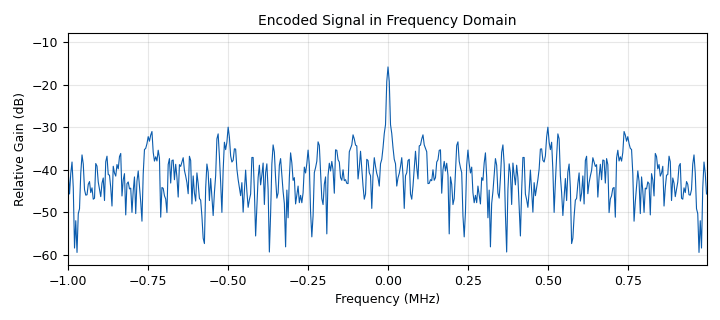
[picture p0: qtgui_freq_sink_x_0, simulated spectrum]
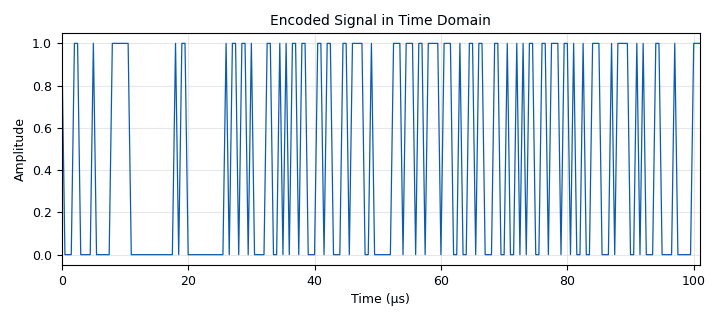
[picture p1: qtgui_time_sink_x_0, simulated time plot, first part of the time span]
<?xml version='1.0' encoding='utf-8'?>
<?grc format='1' created='3.7.11'?>
<flow_graph>
<block>
<key>options</key>
<param><key>id</key><value>Customed_Packet_Encoder</value></param>
<param><key>author</key><value>Yifang Chen</value></param>
<param><key>description</key><value>Generate 2 bits infomation as a stream of digital signal for input message.</value></param>
<param><key>generate_options</key><value>hb_qt_gui</value></param>
</block>
<block>
<key>variable</key>
<param><key>id</key><value>whole_name</value></param>
<param><key>comment</key><value>Name of signal file.
Dst(Destination) + file_name</value></param>
<param><key>value</key><value>dst+ file_name</value></param>
</block>
<block>
<key>blocks_char_to_float</key>
<param><key>id</key><value>blocks_char_to_float_0</value></param>
<param><key>scale</key><value>1</value></param>
</block>
<block>
<key>blocks_file_sink</key>
<param><key>id</key><value>blocks_file_sink_0</value></param>
<param><key>comment</key><value>Save the original file to do error checking</value></param>
<param><key>file</key><value>whole_name</value></param>
<param><key>type</key><value>byte</value></param>
</block>
<block>
<key>blocks_head</key>
<param><key>id</key><value>blocks_head_0</value></param>
<param><key>num_items</key><value>len(message)*(message_repeatNum+1)</value></param>
<param><key>type</key><value>byte</value></param>
</block>
<block>
<key>blocks_message_debug</key>
<param><key>id</key><value>blocks_message_debug_0_0</value></param>
<param><key>comment</key><value>Display the message that was sent.
Check if the repeated time is right.</value></param>
<param><key>_enabled</key><value>0</value></param>
</block>
<block>
<key>blocks_message_strobe</key>
<param><key>id</key><value>blocks_message_strobe_0_0</value></param>
<param><key>comment</key><value>Generate message</value></param>
<param><key>msg</key><value>pmt.cons(pmt.make_dict(), pmt.pmt_to_python.numpy_to_uvector(numpy.array([ord(c) for c in message], numpy.uint8)))</value></param>
<param><key>period</key><value>interval_ms</value></param>
</block>
<block>
<key>blocks_pdu_to_tagged_stream</key>
<param><key>id</key><value>blocks_pdu_to_tagged_stream_1</value></param>
<param><key>type</key><value>byte</value></param>
<param><key>tag</key><value>len_key</value></param>
</block>
<block>
<key>blocks_repack_bits_bb</key>
<param><key>id</key><value>blocks_repack_bits_bb_0_0</value></param>
<param><key>k</key><value>8</value></param>
<param><key>l</key><value>1</value></param>
<param><key>comment</key><value>Unpack bytes</value></param>
<param><key>endianness</key><value>gr.GR_MSB_FIRST</value></param>
<param><key>len_tag_key</key><value>len_key</value></param>
</block>
<block>
<key>blocks_repack_bits_bb</key>
<param><key>id</key><value>blocks_repack_bits_bb_0_0_0</value></param>
<param><key>k</key><value>8</value></param>
<param><key>l</key><value>1</value></param>
<param><key>comment</key><value>Unpack bytes</value></param>
<param><key>endianness</key><value>gr.GR_MSB_FIRST</value></param>
<param><key>len_tag_key</key><value>len_key</value></param>
</block>
<block>
<key>blocks_repack_bits_bb</key>
<param><key>id</key><value>blocks_repack_bits_bb_0_0_0_0</value></param>
<param><key>k</key><value>1</value></param>
<param><key>l</key><value>8</value></param>
<param><key>comment</key><value>Tagged Stream to PDU block up ahead needs packed bytes</value></param>
<param><key>_enabled</key><value>0</value></param>
<param><key>endianness</key><value>gr.GR_MSB_FIRST</value></param>
<param><key>len_tag_key</key><value>len_key2</value></param>
</block>
<block>
<key>blocks_repeat</key>
<param><key>id</key><value>blocks_repeat_0</value></param>
<param><key>interp</key><value>int(symbol_rate/samp_rate)</value></param>
<param><key>type</key><value>byte</value></param>
</block>
<block>
<key>blocks_skiphead</key>
<param><key>id</key><value>blocks_skiphead_0</value></param>
<param><key>num_items</key><value>len(message)*1</value></param>
<param><key>type</key><value>byte</value></param>
</block>
<block>
<key>blocks_tagged_stream_mux</key>
<param><key>id</key><value>blocks_tagged_stream_mux_0</value></param>
<param><key>comment</key><value>Append header to payload</value></param>
<param><key>type</key><value>byte</value></param>
<param><key>lengthtagname</key><value>len_key</value></param>
<param><key>ninputs</key><value>2</value></param>
</block>
<block>
<key>blocks_tagged_stream_to_pdu</key>
<param><key>id</key><value>blocks_tagged_stream_to_pdu_0_0</value></param>
<param><key>_enabled</key><value>0</value></param>
<param><key>type</key><value>byte</value></param>
<param><key>tag</key><value>len_key2</value></param>
</block>
<block>
<key>blocks_throttle</key>
<param><key>id</key><value>blocks_throttle_0</value></param>
<param><key>samples_per_second</key><value>samp_rate</value></param>
<param><key>type</key><value>byte</value></param>
</block>
<block>
<key>digital_correlate_access_code_xx_ts</key>
<param><key>id</key><value>digital_correlate_access_code_xx_ts_1_0_0</value></param>
<param><key>access_code</key><value>digital.packet_utils.default_access_code</value></param>
<param><key>comment</key><value>Correlates with access code to extract the payload.</value></param>
<param><key>_enabled</key><value>0</value></param>
<param><key>type</key><value>byte</value></param>
<param><key>tagname</key><value>len_key2</value></param>
<param><key>threshold</key><value>10</value></param>
</block>
<block>
<key>digital_protocol_formatter_bb</key>
<param><key>id</key><value>digital_protocol_formatter_bb_0</value></param>
<param><key>comment</key><value>Generate header</value></param>
<param><key>format</key><value>hdr_format</value></param>
<param><key>len_tag_key</key><value>len_key</value></param>
</block>
<block>
<key>parameter</key>
<param><key>id</key><value>dst</value></param>
<param><key>comment</key><value>Desination of saved signal files</value></param>
<param><key>type</key><value>string</value></param>
<param><key>value</key><value>C:\Users\cheny\Desktop\</value></param>
</block>
<block>
<key>parameter</key>
<param><key>id</key><value>file_name</value></param>
<param><key>comment</key><value>Specific name of the file</value></param>
<param><key>type</key><value>string</value></param>
<param><key>value</key><value>'test_in'</value></param>
</block>
<block>
<key>pad_sink</key>
<param><key>id</key><value>generatedSignal</value></param>
<param><key>type</key><value>byte</value></param>
<param><key>label</key><value>out</value></param>
</block>
<block>
<key>parameter</key>
<param><key>id</key><value>hdr_format</value></param>
<param><key>comment</key><value>Header format definition</value></param>
<param><key>label</key><value>Header Formatter</value></param>
<param><key>value</key><value>digital.header_format_default(digital.packet_utils.default_access_code, 0)</value></param>
</block>
<block>
<key>import</key>
<param><key>id</key><value>import_0</value></param>
<param><key>comment</key><value>Custom Embedded
Python Block uses 
this library.</value></param>
<param><key>import</key><value>import numpy</value></param>
</block>
<block>
<key>parameter</key>
<param><key>id</key><value>interval_ms</value></param>
<param><key>comment</key><value>Time interval between each message
Right now haven't see any influnce on BER
unit: ms</value></param>
<param><key>type</key><value>intx</value></param>
<param><key>value</key><value>int(0.2e3)</value></param>
</block>
<block>
<key>parameter</key>
<param><key>id</key><value>message</value></param>
<param><key>value</key><value>"hello world"</value></param>
</block>
<block>
<key>parameter</key>
<param><key>id</key><value>message_repeatNum</value></param>
<param><key>comment</key><value>Number of times the message want to repeat.</value></param>
<param><key>type</key><value>intx</value></param>
<param><key>value</key><value>5</value></param>
</block>
<block>
<key>qtgui_freq_sink_x</key>
<param><key>id</key><value>qtgui_freq_sink_x_0</value></param>
<param><key>autoscale</key><value>True</value></param>
<param><key>bw</key><value>samp_rate</value></param>
<param><key>fc</key><value>0</value></param>
<param><key>comment</key><value>Visualization for the 2 bits information in the time domain</value></param>
<param><key>fftsize</key><value>1024/2</value></param>
<param><key>grid</key><value>True</value></param>
<param><key>name</key><value>Encoded Signal in Frequency Domain</value></param>
<param><key>showports</key><value>True</value></param>
<param><key>type</key><value>float</value></param>
<param><key>wintype</key><value>firdes.WIN_BLACKMAN_hARRIS</value></param>
</block>
<block>
<key>qtgui_time_sink_x</key>
<param><key>id</key><value>qtgui_time_sink_x_0</value></param>
<param><key>autoscale</key><value>True</value></param>
<param><key>comment</key><value>Visualization for the 2 bits information in the time domain</value></param>
<param><key>grid</key><value>True</value></param>
<param><key>color1</key><value>"blue"</value></param>
<param><key>label1</key><value></value></param>
<param><key>name</key><value>"Encoded Signal in Time Domain"</value></param>
<param><key>size</key><value>1024/2</value></param>
<param><key>srate</key><value>samp_rate</value></param>
<param><key>type</key><value>float</value></param>
</block>
<block>
<key>parameter</key>
<param><key>id</key><value>samp_rate</value></param>
<param><key>comment</key><value>The sample rate of generated signal. 
Require &gt;=BW of the transmitter and receiver.
Less sample rate cause less power.</value></param>
<param><key>type</key><value>intx</value></param>
<param><key>value</key><value>int(2e6)</value></param>
</block>
<block>
<key>parameter</key>
<param><key>id</key><value>symbol_rate</value></param>
<param><key>comment</key><value>The symbol rate of the message.
Depends on the actual user case
Required to be &lt;= sample rate.</value></param>
<param><key>type</key><value>intx</value></param>
<param><key>value</key><value>int(2e6)</value></param>
</block>
<connection><source_block_id>blocks_char_to_float_0</source_block_id><sink_block_id>qtgui_freq_sink_x_0</sink_block_id><source_key>0</source_key><sink_key>0</sink_key></connection>
<connection><source_block_id>blocks_char_to_float_0</source_block_id><sink_block_id>qtgui_time_sink_x_0</sink_block_id><source_key>0</source_key><sink_key>0</sink_key></connection>
<connection><source_block_id>blocks_head_0</source_block_id><sink_block_id>blocks_skiphead_0</sink_block_id><source_key>0</source_key><sink_key>0</sink_key></connection>
<connection><source_block_id>blocks_head_0</source_block_id><sink_block_id>blocks_tagged_stream_mux_0</sink_block_id><source_key>0</source_key><sink_key>1</sink_key></connection>
<connection><source_block_id>blocks_head_0</source_block_id><sink_block_id>digital_protocol_formatter_bb_0</sink_block_id><source_key>0</source_key><sink_key>0</sink_key></connection>
<connection><source_block_id>blocks_message_strobe_0_0</source_block_id><sink_block_id>blocks_pdu_to_tagged_stream_1</sink_block_id><source_key>strobe</source_key><sink_key>pdus</sink_key></connection>
<connection><source_block_id>blocks_pdu_to_tagged_stream_1</source_block_id><sink_block_id>blocks_head_0</sink_block_id><source_key>0</source_key><sink_key>0</sink_key></connection>
<connection><source_block_id>blocks_repack_bits_bb_0_0</source_block_id><sink_block_id>blocks_throttle_0</sink_block_id><source_key>0</source_key><sink_key>0</sink_key></connection>
<connection><source_block_id>blocks_repack_bits_bb_0_0_0</source_block_id><sink_block_id>blocks_file_sink_0</sink_block_id><source_key>0</source_key><sink_key>0</sink_key></connection>
<connection><source_block_id>blocks_repack_bits_bb_0_0_0_0</source_block_id><sink_block_id>blocks_tagged_stream_to_pdu_0_0</sink_block_id><source_key>0</source_key><sink_key>0</sink_key></connection>
<connection><source_block_id>blocks_repeat_0</source_block_id><sink_block_id>blocks_char_to_float_0</sink_block_id><source_key>0</source_key><sink_key>0</sink_key></connection>
<connection><source_block_id>blocks_repeat_0</source_block_id><sink_block_id>digital_correlate_access_code_xx_ts_1_0_0</sink_block_id><source_key>0</source_key><sink_key>0</sink_key></connection>
<connection><source_block_id>blocks_repeat_0</source_block_id><sink_block_id>generatedSignal</sink_block_id><source_key>0</source_key><sink_key>0</sink_key></connection>
<connection><source_block_id>blocks_skiphead_0</source_block_id><sink_block_id>blocks_repack_bits_bb_0_0_0</sink_block_id><source_key>0</source_key><sink_key>0</sink_key></connection>
<connection><source_block_id>blocks_tagged_stream_mux_0</source_block_id><sink_block_id>blocks_repack_bits_bb_0_0</sink_block_id><source_key>0</source_key><sink_key>0</sink_key></connection>
<connection><source_block_id>blocks_tagged_stream_to_pdu_0_0</source_block_id><sink_block_id>blocks_message_debug_0_0</sink_block_id><source_key>pdus</source_key><sink_key>print</sink_key></connection>
<connection><source_block_id>blocks_throttle_0</source_block_id><sink_block_id>blocks_repeat_0</sink_block_id><source_key>0</source_key><sink_key>0</sink_key></connection>
<connection><source_block_id>digital_correlate_access_code_xx_ts_1_0_0</source_block_id><sink_block_id>blocks_repack_bits_bb_0_0_0_0</sink_block_id><source_key>0</source_key><sink_key>0</sink_key></connection>
<connection><source_block_id>digital_protocol_formatter_bb_0</source_block_id><sink_block_id>blocks_tagged_stream_mux_0</sink_block_id><source_key>0</source_key><sink_key>0</sink_key></connection>
</flow_graph>
